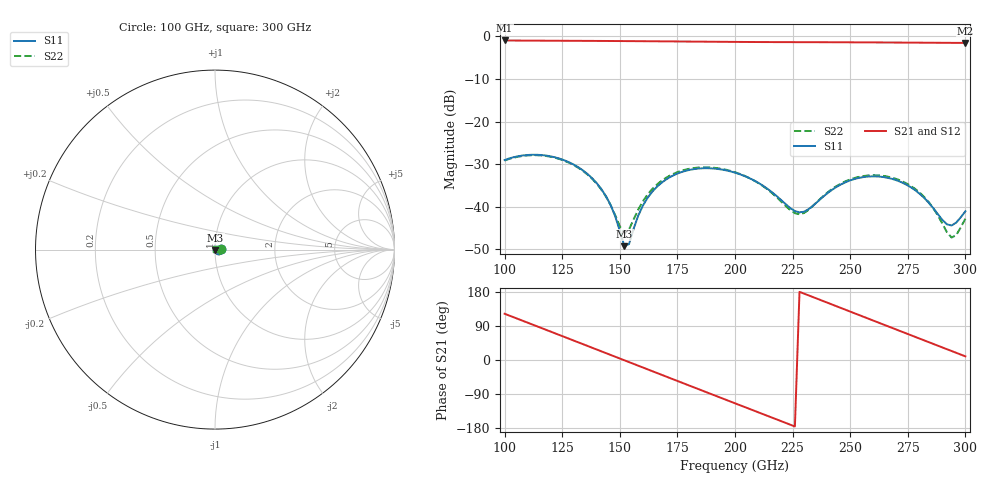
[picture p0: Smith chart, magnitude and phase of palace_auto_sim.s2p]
#  GHZ S DB R 50
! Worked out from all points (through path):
!   101 points, 100 GHz to 300 GHz, reference 50 ohm
!   highest |S21| = -0.93 dB at 100 GHz (marker M1); lowest = -1.5 dB at 300 GHz (marker M2)
!   group delay of S21, straight-line fit = 6.56 ps
!   lowest |S11| = -49.3 dB at 152 GHz (marker M3), VSWR 1.01, Z = 50.3 - j0.233 ohm
!   |S11| at or under -10 dB: start of sweep to end of sweep
!   |S22| runs from -47.2 to -27.9 dB; largest |S21 - S12| = 1e-13
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100  -29.01 3.2  -0.93 122.0  -0.93 122.0  -29.14 4.6
108  -27.95 -12.5  -0.96 103.2  -0.96 103.2  -28.05 -11.3
116  -27.85 -29.0  -0.98 84.3  -0.98 84.3  -27.95 -27.7
124  -28.72 -45.7  -1.00 65.5  -1.00 65.5  -28.82 -44.1
134  -31.45 -65.8  -1.02 41.8  -1.02 41.8  -31.58 -63.2
144  -37.52 -80.7  -1.05 18.1  -1.05 18.1  -37.62 -74.3
148  -42.22 -78.8  -1.06 8.7  -1.06 8.7  -41.96 -67.3
152  -49.26 -42.4  -1.08 -0.8  -1.08 -0.8  -46.26 -28.9
154  -48.77 0.8  -1.09 -5.5  -1.09 -5.5  -45.34 -1.4
160  -39.75 32.2  -1.11 -19.8  -1.11 -19.8  -38.73 24.6
168  -34.41 24.0  -1.14 -38.7  -1.14 -38.7  -33.94 18.5
184  -31.03 -4.1  -1.21 -76.5  -1.21 -76.5  -30.79 -8.6
200  -31.98 -29.7  -1.27 -114.2  -1.27 -114.2  -31.89 -34.5
214  -35.74 -42.9  -1.31 -147.2  -1.31 -147.2  -35.88 -48.0
226  -41.00 -22.9  -1.33 -175.4  -1.33 -175.4  -41.51 -25.4
234  -39.68 10.6  -1.34 165.7  -1.34 165.7  -39.70 9.9
244  -35.36 15.6  -1.36 142.0  -1.36 142.0  -35.16 13.0
252  -33.46 5.9  -1.37 123.0  -1.37 123.0  -33.23 2.3
268  -33.42 -20.6  -1.41 85.2  -1.41 85.2  -33.13 -26.5
282  -37.87 -37.2  -1.46 52.1  -1.46 52.1  -37.62 -48.0
294  -44.40 4.1  -1.49 23.7  -1.49 23.7  -47.23 -9.1
300  -41.05 34.5  -1.51 9.6  -1.51 9.6  -42.81 36.9
